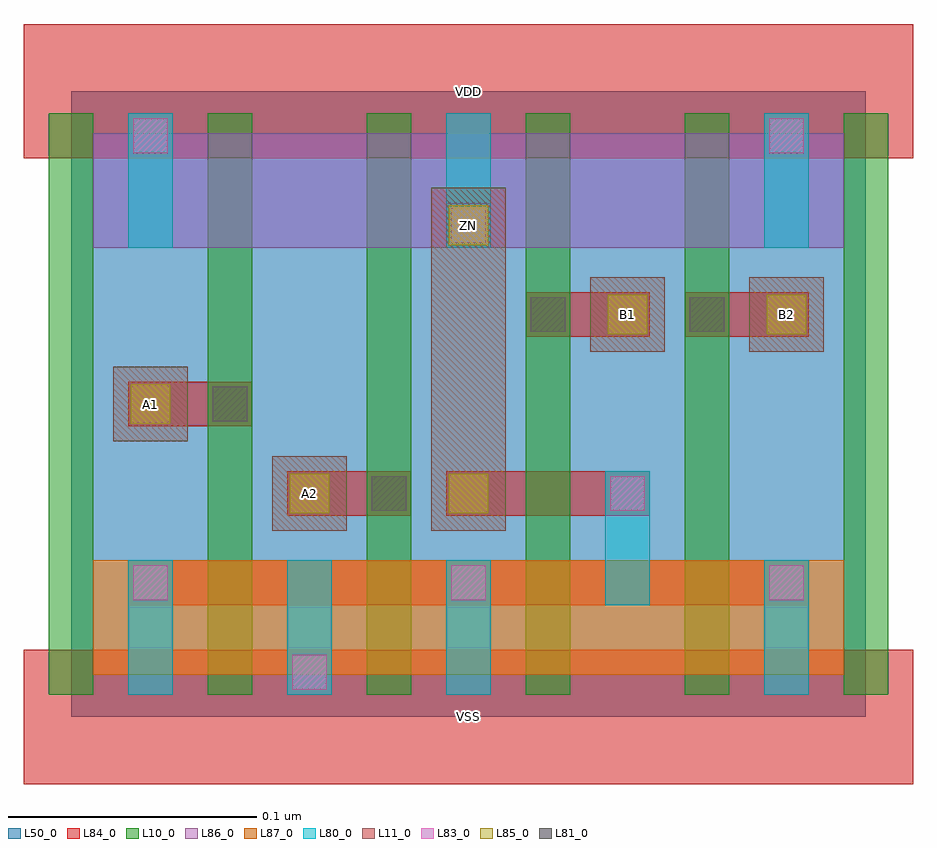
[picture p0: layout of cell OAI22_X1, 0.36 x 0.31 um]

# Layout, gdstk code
import gdstk
lib = gdstk.Library(unit=1e-6, precision=1e-09)
def R(c, l, rs):  # rectangles x0, y0, x1, y1
    for r in rs: c.add(gdstk.rectangle(r[:2], r[2:], *l))
def A(c, l, x, y, w, h, nx, ny, dx, dy):  # array of equal rectangles
    R(c, l, [(x+i*dx, y+j*dy, x+i*dx+w, y+j*dy+h) for i in range(nx) for j in range(ny)])
L10_0 = (10, 0)
L11_0 = (11, 0)
L50_0 = (50, 0)
L80_0 = (80, 0)
L81_0 = (81, 0)
L83_0 = (83, 0)
L84_0 = (84, 0)
L85_0 = (85, 0)
L86_0 = (86, 0)
L87_0 = (87, 0)

oai22_x1 = lib.new_cell('OAI22_X1')
A(oai22_x1, L10_0, -0.009, 0.009, 0.018, 0.234, 6, 1, 0.064, 0)
R(oai22_x1, L11_0, [(0.081,0.075,0.111,0.105), (0.145,0.075,0.175,0.213), (0.017,0.111,0.047,0.141), (0.209,0.147,0.239,0.177), (0.273,0.147,0.303,0.177)])
R(oai22_x1, L50_0, [(0,0,0.32,0.252)])
A(oai22_x1, L80_0, 0.023, 0.009, 0.018, 0.054, 3, 1, 0.064, 0)
A(oai22_x1, L80_0, 0.023, 0.189, 0.018, 0.054, 3, 1, 0.128, 0)
R(oai22_x1, L80_0, [(0.279,0.009,0.297,0.063), (0.215,0.045,0.233,0.099)])
R(oai22_x1, L81_0, [(0.121,0.083,0.135,0.097), (0.057,0.119,0.071,0.133), (0.185,0.155,0.199,0.169), (0.249,0.155,0.263,0.169)])
A(oai22_x1, L83_0, 0.025, 0.047, 0.014, 0.014, 3, 1, 0.128, 0)
R(oai22_x1, L83_0, [(0.089,0.011,0.103,0.025), (0.217,0.083,0.231,0.097), (0.153,0.191,0.167,0.205), (0.025,0.227,0.039,0.241), (0.281,0.227,0.295,0.241)])
R(oai22_x1, L84_0, [(-0.019,-0.027,0.339,0.027), (0.023,0.045,0.297,0.063), (0.087,0.081,0.137,0.099), (0.151,0.081,0.233,0.099), (0.023,0.117,0.073,0.135), (0.183,0.153,0.233,0.171), (0.247,0.153,0.297,0.171), (0.151,0.189,0.169,0.207), (-0.019,0.225,0.339,0.279)])
R(oai22_x1, L85_0, [(0.088,0.082,0.104,0.098), (0.152,0.082,0.168,0.098), (0.024,0.118,0.04,0.134), (0.216,0.154,0.232,0.17), (0.28,0.154,0.296,0.17), (0.152,0.19,0.168,0.206)])
R(oai22_x1, L86_0, [(0.009,0.189,0.311,0.235)])
R(oai22_x1, L87_0, [(0.009,0.017,0.311,0.063)])
oai22_x1.add(gdstk.Label('VDD', (0.16,0.252), layer=88, texttype=0))
oai22_x1.add(gdstk.Label('VSS', (0.16,0), layer=88, texttype=0))
oai22_x1.add(gdstk.Label('ZN', (0.16,0.198), layer=31, texttype=0))
oai22_x1.add(gdstk.Label('A1', (0.032,0.126), layer=31, texttype=0))
oai22_x1.add(gdstk.Label('A2', (0.096,0.09), layer=31, texttype=0))
oai22_x1.add(gdstk.Label('B1', (0.224,0.162), layer=31, texttype=0))
oai22_x1.add(gdstk.Label('B2', (0.288,0.162), layer=31, texttype=0))

lib.write_gds('OAI22_X1.gds')
